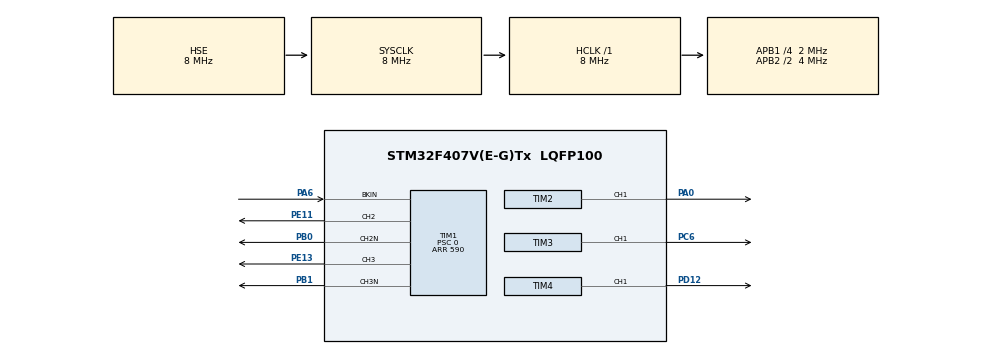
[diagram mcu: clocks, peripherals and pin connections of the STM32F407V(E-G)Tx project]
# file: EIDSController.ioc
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Mcu.Family=STM32F4
Mcu.Name=STM32F407V(E-G)Tx
Mcu.Package=LQFP100
NVIC.PriorityGroup=NVIC_PRIORITYGROUP_4
NVIC.TIM1_BRK_TIM9_IRQn=true\:0\:0\:false\:false\:true\:true\:true\:true
PA0-WKUP.Signal=S_TIM2_CH1_ETR
PA13.Mode=Serial_Wire
PA13.Signal=SYS_JTMS-SWDIO
PA14.Mode=Serial_Wire
PA14.Signal=SYS_JTCK-SWCLK
PA6.Mode=Activate-Break-Input
PA6.Signal=TIM1_BKIN
PB0.Mode=Output Compare2 CH2 CH2N
PB0.Signal=TIM1_CH2N
PB1.Mode=Output Compare3 CH3 CH3N
PB1.Signal=TIM1_CH3N
PC6.Signal=S_TIM3_CH1
PD12.Signal=S_TIM4_CH1
PE11.Signal=S_TIM1_CH2
PE13.Signal=S_TIM1_CH3
PH0-OSC_IN.Mode=HSE-External-Oscillator
PH0-OSC_IN.Signal=RCC_OSC_IN
PH1-OSC_OUT.Mode=HSE-External-Oscillator
PH1-OSC_OUT.Signal=RCC_OSC_OUT
ProjectManager.HeapSize=0x2000
ProjectManager.StackSize=0x4000
ProjectManager.TargetToolchain=STM32CubeIDE
RCC.48MHZClocksFreq_Value=84000000
RCC.AHBFreq_Value=8000000
RCC.APB1CLKDivider=RCC_HCLK_DIV4
RCC.APB1Freq_Value=2000000
RCC.APB1TimFreq_Value=4000000
RCC.APB2CLKDivider=RCC_HCLK_DIV2
RCC.APB2Freq_Value=4000000
RCC.APB2TimFreq_Value=8000000
RCC.CortexFreq_Value=8000000
RCC.HCLKFreq_Value=8000000
RCC.HSE_VALUE=8000000
RCC.HSI_VALUE=16000000
RCC.LSE_VALUE=32768
RCC.PLLM=4
RCC.PLLN=168
RCC.PLLSourceVirtual=RCC_PLLSOURCE_HSE
RCC.SYSCLKFreq_VALUE=8000000
RCC.SYSCLKSource=RCC_SYSCLKSOURCE_HSE
RCC.VCOOutputFreq_Value=336000000
SH.S_TIM1_CH2.0=TIM1_CH2,Output Compare2 CH2 CH2N
SH.S_TIM1_CH3.0=TIM1_CH3,Output Compare3 CH3 CH3N
SH.S_TIM2_CH1_ETR.0=TIM2_CH1,PWM Generation1 CH1
SH.S_TIM3_CH1.0=TIM3_CH1,PWM Generation1 CH1
SH.S_TIM4_CH1.0=TIM4_CH1,PWM Generation1 CH1
TIM1.AutoReloadPreload=TIM_AUTORELOAD_PRELOAD_ENABLE
TIM1.AutomaticOutput=TIM_AUTOMATICOUTPUT_ENABLE
TIM1.BreakPolarity=TIM_BREAKPOLARITY_LOW
TIM1.Channel-Output\ Compare2\ CH2\ CH2N=TIM_CHANNEL_2
TIM1.Channel-Output\ Compare3\ CH3\ CH3N=TIM_CHANNEL_3
TIM1.DeadTime=5
TIM1.OC2Preload=ENABLE
TIM1.OC3Preload=ENABLE
TIM1.OCMode_2=TIM_OCMODE_TOGGLE
TIM1.OCMode_3=TIM_OCMODE_TOGGLE
TIM1.Period=590
TIM1.Prescaler=0
TIM1.Pulse-Output\ Compare2\ CH2\ CH2N=1
TIM1.Pulse-Output\ Compare3\ CH3\ CH3N=1
TIM2.Channel-Output\ Compare2\ No\ Output=TIM_CHANNEL_2
TIM2.Channel-PWM\ Generation1\ CH1=TIM_CHANNEL_1
TIM2.OCMode_2=TIM_OCMODE_ACTIVE
TIM2.Period=9999
TIM2.Prescaler=64
TIM2.Pulse-Output\ Compare2\ No\ Output=3333
TIM2.Pulse-PWM\ Generation1\ CH1=2500
TIM2.TIM_MasterOutputTrigger=TIM_TRGO_OC2REF
TIM3.Channel-Output\ Compare2\ No\ Output=TIM_CHANNEL_2
TIM3.Channel-PWM\ Generation1\ CH1=TIM_CHANNEL_1
TIM3.OCMode_2=TIM_OCMODE_ACTIVE
TIM3.Period=9999
TIM3.Prescaler=64
TIM3.Pulse-Output\ Compare2\ No\ Output=3333
TIM3.Pulse-PWM\ Generation1\ CH1=2500
TIM3.TIM_MasterOutputTrigger=TIM_TRGO_OC2REF
TIM4.Channel-PWM\ Generation1\ CH1=TIM_CHANNEL_1
TIM4.Period=9999
TIM4.Prescaler=64
TIM4.Pulse-PWM\ Generation1\ CH1=2500
TIM4.TIM_MasterOutputTrigger=TIM_TRGO_OC2REF
VP_TIM1_VS_ClockSourceINT.Mode=Internal
VP_TIM2_VS_no_output2.Mode=Output Compare2 No Output
VP_TIM3_VS_ClockSourceITR.Mode=TriggerSource_ITR1
VP_TIM3_VS_ControllerModeTrigger.Mode=Trigger Mode
VP_TIM3_VS_no_output2.Mode=Output Compare2 No Output
VP_TIM4_VS_ClockSourceITR.Mode=TriggerSource_ITR2
VP_TIM4_VS_ControllerModeTrigger.Mode=Trigger Mode
board=custom

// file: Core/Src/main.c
/* USER CODE BEGIN Header */
/**
  ******************************************************************************
  * @file           : main.c
  * @brief          : Main program body
  ******************************************************************************
  * @attention
  *
  * Copyright (c) 2022 STMicroelectronics.
  * All rights reserved.
  *
  * This software is licensed under terms that can be found in the LICENSE file
  * in the root directory of this software component.
  * If no LICENSE file comes with this software, it is provided AS-IS.
  *180 derece faz farkı alınabılıyor. simdilik artımsal deger otomatık fakat bunu bır encoder
  *baglanacak
  ******************************************************************************
  */
/* USER CODE END Header */
#include "main.h"

TIM_HandleTypeDef htim1;
TIM_HandleTypeDef htim2;
TIM_HandleTypeDef htim3;
TIM_HandleTypeDef htim4;

void SystemClock_Config(void);
static void MX_GPIO_Init(void);
static void MX_TIM1_Init(void);
static void MX_TIM2_Init(void);
static void MX_TIM3_Init(void);
static void MX_TIM4_Init(void);
static long map(long x,long in_min,long in_max,long out_min,long out_max);

/* USER CODE BEGIN 0 */
uint16_t pulse_value =0,periodValue=9999,periodValue2=3333,prescalerValue=3,prescalerValueOld=2;
/*
 * prescalerValue degerim ile 120derecelik açıyı sabit tutuyor ve frekansı gezdiriyorum
 * frekans araalığımı 3-200 hz arasında prescalerValue degerini ise 1-100 aralıgında gezdiriyorum
 *
 */

uint8_t break_falg =0;
uint16_t dead_value =0;
uint16_t pulse2=0,geriSayim=0;
uint32_t deneme=0;

void startPWM(void)
{
	HAL_TIM_OC_Start(&htim1,TIM_CHANNEL_2);			//OC2			enable
	HAL_TIMEx_OCN_Start(&htim1,TIM_CHANNEL_2);	//OC2N		enable

	HAL_TIM_OC_Start(&htim1,TIM_CHANNEL_3);			//OC3			enable
	HAL_TIMEx_OCN_Start(&htim1,TIM_CHANNEL_3);	//OC3N		enable
}

void stopPWM(void)
{
	HAL_TIM_OC_Stop(&htim1,TIM_CHANNEL_2);		//stop pwm output	or user function
	HAL_TIMEx_OCN_Stop(&htim1,TIM_CHANNEL_2);

	HAL_TIM_OC_Stop(&htim1,TIM_CHANNEL_3);
	HAL_TIMEx_OCN_Stop(&htim1,TIM_CHANNEL_3);
}

void pulsePWM(uint16_t pulse)
{

	HAL_Delay(500);

	if(geriSayim==0)
	{
	pulse2++;
	if(pulse2>580)
		{
		geriSayim=1;
		}
	}

	if(geriSayim==1)
	{
		pulse2-=1;//600 oluyor 700de faz takla atıyor.}
		if(pulse2<2){geriSayim=0;}
	}

	//prescalerValue=map(pulse2,0,580,1,100);
	//htim2.Init.Prescaler=prescalerValue;
	//htim3.Init.Prescaler = prescalerValue;
	//htim4.Init.Prescaler = prescalerValue;//64

	//TIM2->PSC=prescalerValue;
	//TIM3->PSC=prescalerValue;
	//TIM4->PSC=prescalerValue;
	//__HAL_TIM_SET_PRESCALER(&htim2,prescalerValue);
	//__HAL_TIM_SET_PRESCALER(&htim3,prescalerValue);
	//__HAL_TIM_SET_PRESCALER(&htim4,prescalerValue);

 if(prescalerValueOld!=prescalerValue)
 {

	  prescalerValueOld=prescalerValue;

	 // HAL_TIM_PWM_Start(&htim2, TIM_CHANNEL_1);
	 // HAL_TIM_OC_Start(&htim2, TIM_CHANNEL_2);
	 // HAL_TIM_PWM_Start(&htim3, TIM_CHANNEL_1);
	 // HAL_TIM_OC_Start(&htim3, TIM_CHANNEL_2);
    // HAL_TIM_PWM_Start(&htim4, TIM_CHANNEL_1);

	//HAL_TIM_PWM_Stop(&htim2, TIM_CHANNEL_1);
	//HAL_TIM_PWM_Stop(&htim3, TIM_CHANNEL_1);
	//HAL_TIM_PWM_Stop(&htim4, TIM_CHANNEL_1);

	 //TIM2->PSC &= 0xFF00;
	// TIM3->PSC &= 0xFF00;
	 //TIM4->PSC &= 0xFF00;

	 // MX_TIM2_Init();
	 // MX_TIM3_Init();
	 // MX_TIM4_Init();

	// TIM2->PSC=prescalerValue;
	// TIM3->PSC=prescalerValue;
	// TIM4->PSC=prescalerValue;

	//HAL_TIM_PWM_Start(&htim2, TIM_CHANNEL_1);
	//HAL_TIM_OC_Start(&htim2, TIM_CHANNEL_2);

	//HAL_TIM_PWM_Start(&htim3, TIM_CHANNEL_1);
	//HAL_TIM_OC_Start(&htim3, TIM_CHANNEL_2);

	//HAL_TIM_PWM_Start(&htim4, TIM_CHANNEL_1);
 }
	 //map(x, in_min, in_max, out_min, out_max)

	__HAL_TIM_SET_COMPARE(&htim1, TIM_CHANNEL_3, pulse2);//pulse fazın kaydırılgı yer.
}

void deadTimePWM(uint16_t dtime)
{
	/* Set TIMx_BDTR	->	DTG data	*/
	TIM1->BDTR &= 0xFF00;							//clear	DTG data
	TIM1->BDTR |= (dtime & 0x00FF);	//dtime       	//set	DTG data
}

long map(long x,long in_min,long in_max,long out_min,long out_max)
{
return (x-in_min)*(out_max-out_min)/(in_max-in_min)+out_min;
//map(value,fromLow,fromHigh,toLow,toHigh);//yapıyı burda actım.
}
/* USER CODE END 0 */

int main(void)
{

  /* MCU Configuration--------------------------------------------------------*/

  /* Reset of all peripherals, Initializes the Flash interface and the Systick. */
  HAL_Init();

  /* Configure the system clock */
  SystemClock_Config();

  /* Initialize all configured peripherals */
  MX_GPIO_Init();
  MX_TIM1_Init();
  MX_TIM2_Init();
  MX_TIM3_Init();
  MX_TIM4_Init();
  /* USER CODE BEGIN 2 */
  __HAL_TIM_ENABLE(&htim1);										//TIM1		enable
  	startPWM();
  __HAL_TIM_ENABLE_IT(&htim1, TIM_IT_BREAK);	//break interrupt enable

  HAL_TIM_PWM_Start(&htim2, TIM_CHANNEL_1);
  HAL_TIM_OC_Start(&htim2, TIM_CHANNEL_2);

  HAL_TIM_PWM_Start(&htim3, TIM_CHANNEL_1);
  HAL_TIM_OC_Start(&htim3, TIM_CHANNEL_2);

  HAL_TIM_PWM_Start(&htim4, TIM_CHANNEL_1);

  /* USER CODE END 2 */

  /* Infinite loop */
  while (1)
  {

    /* USER CODE BEGIN 3 */
	  pulsePWM(pulse_value);	//user function set
//dead_value++;
	  		deadTimePWM(dead_value);

	  		if(break_falg == 1)			//user function set
	  		{
	  			break_falg = 0;				//clear falg
	  			startPWM();
	  		}
  }
  /* USER CODE END 3 */
}

void SystemClock_Config(void)
{
  RCC_OscInitTypeDef RCC_OscInitStruct = {0};
  RCC_ClkInitTypeDef RCC_ClkInitStruct = {0};

  /** Configure the main internal regulator output voltage
  */
  __HAL_RCC_PWR_CLK_ENABLE();
  __HAL_PWR_VOLTAGESCALING_CONFIG(PWR_REGULATOR_VOLTAGE_SCALE1);

  /** Initializes the RCC Oscillators according to the specified parameters
  * in the RCC_OscInitTypeDef structure.
  */
  RCC_OscInitStruct.OscillatorType = RCC_OSCILLATORTYPE_HSE;
  RCC_OscInitStruct.HSEState = RCC_HSE_ON;
  RCC_OscInitStruct.PLL.PLLState = RCC_PLL_NONE;
  if (HAL_RCC_OscConfig(&RCC_OscInitStruct) != HAL_OK)
  {
    Error_Handler();
  }

  /** Initializes the CPU, AHB and APB buses clocks
  */
  RCC_ClkInitStruct.ClockType = RCC_CLOCKTYPE_HCLK|RCC_CLOCKTYPE_SYSCLK
                              |RCC_CLOCKTYPE_PCLK1|RCC_CLOCKTYPE_PCLK2;
  RCC_ClkInitStruct.SYSCLKSource = RCC_SYSCLKSOURCE_HSE;
  RCC_ClkInitStruct.AHBCLKDivider = RCC_SYSCLK_DIV1;
  RCC_ClkInitStruct.APB1CLKDivider = RCC_HCLK_DIV4;
  RCC_ClkInitStruct.APB2CLKDivider = RCC_HCLK_DIV2;

  if (HAL_RCC_ClockConfig(&RCC_ClkInitStruct, FLASH_LATENCY_0) != HAL_OK)
  {
    Error_Handler();
  }
}

static void MX_TIM1_Init(void)
{

  TIM_ClockConfigTypeDef sClockSourceConfig = {0};
  TIM_MasterConfigTypeDef sMasterConfig = {0};
  TIM_OC_InitTypeDef sConfigOC = {0};
  TIM_BreakDeadTimeConfigTypeDef sBreakDeadTimeConfig = {0};

  htim1.Instance = TIM1;
  htim1.Init.Prescaler = 0;
  htim1.Init.CounterMode = TIM_COUNTERMODE_UP;
  htim1.Init.Period = 590;
  htim1.Init.ClockDivision = TIM_CLOCKDIVISION_DIV1;
  htim1.Init.RepetitionCounter = 0;
  htim1.Init.AutoReloadPreload = TIM_AUTORELOAD_PRELOAD_ENABLE;
  if (HAL_TIM_Base_Init(&htim1) != HAL_OK)
  {
    Error_Handler();
  }
  sClockSourceConfig.ClockSource = TIM_CLOCKSOURCE_INTERNAL;
  if (HAL_TIM_ConfigClockSource(&htim1, &sClockSourceConfig) != HAL_OK)
  {
    Error_Handler();
  }
  if (HAL_TIM_OC_Init(&htim1) != HAL_OK)
  {
    Error_Handler();
  }
  sMasterConfig.MasterOutputTrigger = TIM_TRGO_RESET;
  sMasterConfig.MasterSlaveMode = TIM_MASTERSLAVEMODE_DISABLE;
  if (HAL_TIMEx_MasterConfigSynchronization(&htim1, &sMasterConfig) != HAL_OK)
  {
    Error_Handler();
  }
  sConfigOC.OCMode = TIM_OCMODE_TOGGLE;
  sConfigOC.Pulse = 1;
  sConfigOC.OCPolarity = TIM_OCPOLARITY_HIGH;
  sConfigOC.OCNPolarity = TIM_OCNPOLARITY_HIGH;
  sConfigOC.OCFastMode = TIM_OCFAST_DISABLE;
  sConfigOC.OCIdleState = TIM_OCIDLESTATE_RESET;
  sConfigOC.OCNIdleState = TIM_OCNIDLESTATE_RESET;
  if (HAL_TIM_OC_ConfigChannel(&htim1, &sConfigOC, TIM_CHANNEL_2) != HAL_OK)
  {
    Error_Handler();
  }
  __HAL_TIM_ENABLE_OCxPRELOAD(&htim1, TIM_CHANNEL_2);
  if (HAL_TIM_OC_ConfigChannel(&htim1, &sConfigOC, TIM_CHANNEL_3) != HAL_OK)
  {
    Error_Handler();
  }
  __HAL_TIM_ENABLE_OCxPRELOAD(&htim1, TIM_CHANNEL_3);
  sBreakDeadTimeConfig.OffStateRunMode = TIM_OSSR_DISABLE;
  sBreakDeadTimeConfig.OffStateIDLEMode = TIM_OSSI_DISABLE;
  sBreakDeadTimeConfig.LockLevel = TIM_LOCKLEVEL_OFF;
  sBreakDeadTimeConfig.DeadTime = 5;
  sBreakDeadTimeConfig.BreakState = TIM_BREAK_ENABLE;
  sBreakDeadTimeConfig.BreakPolarity = TIM_BREAKPOLARITY_LOW;
  sBreakDeadTimeConfig.AutomaticOutput = TIM_AUTOMATICOUTPUT_ENABLE;
  if (HAL_TIMEx_ConfigBreakDeadTime(&htim1, &sBreakDeadTimeConfig) != HAL_OK)
  {
    Error_Handler();
  }
  HAL_TIM_MspPostInit(&htim1);

}

static void MX_TIM2_Init(void)
{

  TIM_MasterConfigTypeDef sMasterConfig = {0};
  TIM_OC_InitTypeDef sConfigOC = {0};

  htim2.Instance = TIM2;
  htim2.Init.Prescaler = prescalerValue;//64
  htim2.Init.CounterMode = TIM_COUNTERMODE_UP;
  htim2.Init.Period = periodValue;//9999
  htim2.Init.ClockDivision = TIM_CLOCKDIVISION_DIV1;
  htim2.Init.AutoReloadPreload = TIM_AUTORELOAD_PRELOAD_DISABLE;
  if (HAL_TIM_PWM_Init(&htim2) != HAL_OK)
  {
    Error_Handler();
  }
  if (HAL_TIM_OC_Init(&htim2) != HAL_OK)
  {
    Error_Handler();
  }
  sMasterConfig.MasterOutputTrigger = TIM_TRGO_OC2REF;
  sMasterConfig.MasterSlaveMode = TIM_MASTERSLAVEMODE_DISABLE;
  if (HAL_TIMEx_MasterConfigSynchronization(&htim2, &sMasterConfig) != HAL_OK)
  {
    Error_Handler();
  }
  sConfigOC.OCMode = TIM_OCMODE_PWM1;
  sConfigOC.Pulse = 2500;
  sConfigOC.OCPolarity = TIM_OCPOLARITY_HIGH;
  sConfigOC.OCFastMode = TIM_OCFAST_DISABLE;
  if (HAL_TIM_PWM_ConfigChannel(&htim2, &sConfigOC, TIM_CHANNEL_1) != HAL_OK)
  {
    Error_Handler();
  }
  sConfigOC.OCMode = TIM_OCMODE_ACTIVE;
  sConfigOC.Pulse = periodValue2;//3333
  if (HAL_TIM_OC_ConfigChannel(&htim2, &sConfigOC, TIM_CHANNEL_2) != HAL_OK)
  {
    Error_Handler();
  }
  HAL_TIM_MspPostInit(&htim2);

}

static void MX_TIM3_Init(void)
{

  TIM_SlaveConfigTypeDef sSlaveConfig = {0};
  TIM_MasterConfigTypeDef sMasterConfig = {0};
  TIM_OC_InitTypeDef sConfigOC = {0};

  htim3.Instance = TIM3;
  htim3.Init.Prescaler = prescalerValue;//64
  htim3.Init.CounterMode = TIM_COUNTERMODE_UP;
  htim3.Init.Period = periodValue;//9999
  htim3.Init.ClockDivision = TIM_CLOCKDIVISION_DIV1;
  htim3.Init.AutoReloadPreload = TIM_AUTORELOAD_PRELOAD_DISABLE;
  if (HAL_TIM_Base_Init(&htim3) != HAL_OK)
  {
    Error_Handler();
  }
  if (HAL_TIM_PWM_Init(&htim3) != HAL_OK)
  {
    Error_Handler();
  }
  if (HAL_TIM_OC_Init(&htim3) != HAL_OK)
  {
    Error_Handler();
  }
  sSlaveConfig.SlaveMode = TIM_SLAVEMODE_TRIGGER;
  sSlaveConfig.InputTrigger = TIM_TS_ITR1;
  if (HAL_TIM_SlaveConfigSynchro(&htim3, &sSlaveConfig) != HAL_OK)
  {
    Error_Handler();
  }
  sMasterConfig.MasterOutputTrigger = TIM_TRGO_OC2REF;
  sMasterConfig.MasterSlaveMode = TIM_MASTERSLAVEMODE_DISABLE;
  if (HAL_TIMEx_MasterConfigSynchronization(&htim3, &sMasterConfig) != HAL_OK)
  {
    Error_Handler();
  }
  sConfigOC.OCMode = TIM_OCMODE_PWM1;
  sConfigOC.Pulse = 2500;
  sConfigOC.OCPolarity = TIM_OCPOLARITY_HIGH;
  sConfigOC.OCFastMode = TIM_OCFAST_DISABLE;
  if (HAL_TIM_PWM_ConfigChannel(&htim3, &sConfigOC, TIM_CHANNEL_1) != HAL_OK)
  {
    Error_Handler();
  }
  sConfigOC.OCMode = TIM_OCMODE_ACTIVE;
  sConfigOC.Pulse = periodValue2;//3333
  if (HAL_TIM_OC_ConfigChannel(&htim3, &sConfigOC, TIM_CHANNEL_2) != HAL_OK)
  {
    Error_Handler();
  }
  HAL_TIM_MspPostInit(&htim3);

}

static void MX_TIM4_Init(void)
{

  TIM_SlaveConfigTypeDef sSlaveConfig = {0};
  TIM_MasterConfigTypeDef sMasterConfig = {0};
  TIM_OC_InitTypeDef sConfigOC = {0};

  htim4.Instance = TIM4;
  htim4.Init.Prescaler = prescalerValue;//64
  htim4.Init.CounterMode = TIM_COUNTERMODE_UP;
  htim4.Init.Period = periodValue;//9999
  htim4.Init.ClockDivision = TIM_CLOCKDIVISION_DIV1;
  htim4.Init.AutoReloadPreload = TIM_AUTORELOAD_PRELOAD_DISABLE;
  if (HAL_TIM_Base_Init(&htim4) != HAL_OK)
  {
    Error_Handler();
  }
  if (HAL_TIM_PWM_Init(&htim4) != HAL_OK)
  {
    Error_Handler();
  }
  sSlaveConfig.SlaveMode = TIM_SLAVEMODE_TRIGGER;
  sSlaveConfig.InputTrigger = TIM_TS_ITR2;
  if (HAL_TIM_SlaveConfigSynchro(&htim4, &sSlaveConfig) != HAL_OK)
  {
    Error_Handler();
  }
  sMasterConfig.MasterOutputTrigger = TIM_TRGO_OC2REF;
  sMasterConfig.MasterSlaveMode = TIM_MASTERSLAVEMODE_DISABLE;
  if (HAL_TIMEx_MasterConfigSynchronization(&htim4, &sMasterConfig) != HAL_OK)
  {
    Error_Handler();
  }
  sConfigOC.OCMode = TIM_OCMODE_PWM1;
  sConfigOC.Pulse = 2500;
  sConfigOC.OCPolarity = TIM_OCPOLARITY_HIGH;
  sConfigOC.OCFastMode = TIM_OCFAST_DISABLE;
  if (HAL_TIM_PWM_ConfigChannel(&htim4, &sConfigOC, TIM_CHANNEL_1) != HAL_OK)
  {
    Error_Handler();
  }
  HAL_TIM_MspPostInit(&htim4);

}

static void MX_GPIO_Init(void)
{

  /* GPIO Ports Clock Enable */
  __HAL_RCC_GPIOH_CLK_ENABLE();
  __HAL_RCC_GPIOA_CLK_ENABLE();
  __HAL_RCC_GPIOB_CLK_ENABLE();
  __HAL_RCC_GPIOE_CLK_ENABLE();
  __HAL_RCC_GPIOD_CLK_ENABLE();
  __HAL_RCC_GPIOC_CLK_ENABLE();

}

/* USER CODE BEGIN 4 */
void HAL_TIMEx_BreakCallback(TIM_HandleTypeDef *htim)
{
	if(htim->Instance == TIM1)		//need modify
	{
		stopPWM();									//stop pwm output	or user function
		break_falg = 1;
	}
}
/* USER CODE END 4 */

void Error_Handler(void)
{
  __disable_irq();
  while (1)
  {
  }
}
